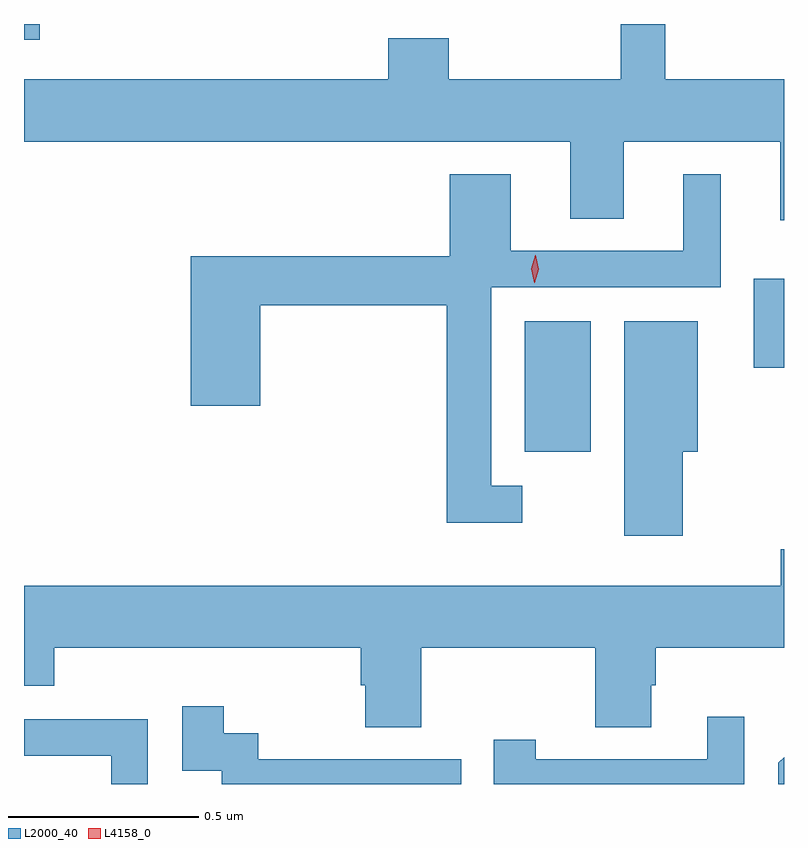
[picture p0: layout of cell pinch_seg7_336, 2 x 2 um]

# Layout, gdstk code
import gdstk
lib = gdstk.Library(unit=1e-6, precision=1e-09)
def R(c, l, rs):  # rectangles x0, y0, x1, y1
    for r in rs: c.add(gdstk.rectangle(r[:2], r[2:], *l))
def P(c, l, *ps):  # polygons
    for p in ps: c.add(gdstk.Polygon(p, *l))
L2000_40 = (2000, 40)
L4158_0 = (4158, 0)

pinch_seg7_336 = lib.new_cell('pinch_seg7_336')
R(pinch_seg7_336, L2000_40, [(402.419,1058.408,402.592,1058.752), (403.022,1058.63,403.101,1058.863), (401.101,1059.492,401.143,1059.534)])
P(pinch_seg7_336, L2000_40, [(403.101,1059.388),(402.788,1059.388),(402.788,1059.534),(402.672,1059.534),(402.672,1059.388),(402.219,1059.388),(402.219,1059.496),(402.059,1059.496),(402.059,1059.388),(401.101,1059.388),(401.101,1059.224),(402.539,1059.224),(402.539,1059.022),(402.679,1059.022),(402.679,1059.224),(403.091,1059.224),(403.091,1059.018),(403.101,1059.018)],
  [(402.412,1058.319),(402.33,1058.319),(402.33,1058.841),(402.934,1058.841),(402.934,1059.139),(402.836,1059.139),(402.836,1058.937),(402.382,1058.937),(402.382,1059.139),(402.221,1059.139),(402.221,1058.923),(401.54,1058.923),(401.54,1058.529),(401.723,1058.529),(401.723,1058.794),(402.214,1058.794),(402.214,1058.222),(402.412,1058.222)],
  [(402.835,1058.408),(402.874,1058.408),(402.874,1058.752),(402.68,1058.752),(402.68,1058.187),(402.835,1058.187)],
  [(402.147,1057.892),(402.604,1057.892),(402.604,1057.684),(402.751,1057.684),(402.751,1057.794),(402.764,1057.794),(402.764,1057.892),(403.101,1057.892),(403.101,1058.152),(403.093,1058.152),(403.093,1058.056),(401.101,1058.056),(401.101,1057.793),(401.18,1057.793),(401.18,1057.892),(401.987,1057.892),(401.987,1057.794),(401.999,1057.794),(401.999,1057.684),(402.147,1057.684)],
  [(402.252,1057.599),(401.718,1057.599),(401.718,1057.668),(401.626,1057.668),(401.626,1057.738),(401.517,1057.738),(401.517,1057.569),(401.622,1057.569),(401.622,1057.534),(402.252,1057.534)],
  [(402.996,1057.711),(402.899,1057.711),(402.899,1057.599),(402.448,1057.599),(402.448,1057.651),(402.337,1057.651),(402.337,1057.534),(402.996,1057.534)],
  [(401.427,1057.704),(401.101,1057.704),(401.101,1057.608),(401.331,1057.608),(401.331,1057.534),(401.427,1057.534)],
  [(403.101,1057.605),(403.086,1057.59),(403.086,1057.534),(403.101,1057.534)])
P(pinch_seg7_336, L4158_0, [(402.444,1058.853),(402.444,1058.853),(402.436,1058.89),(402.447,1058.925),(402.447,1058.925),(402.448,1058.925),(402.456,1058.889),(402.445,1058.853)])

lib.write_gds('pinch_seg7_336.gds')
